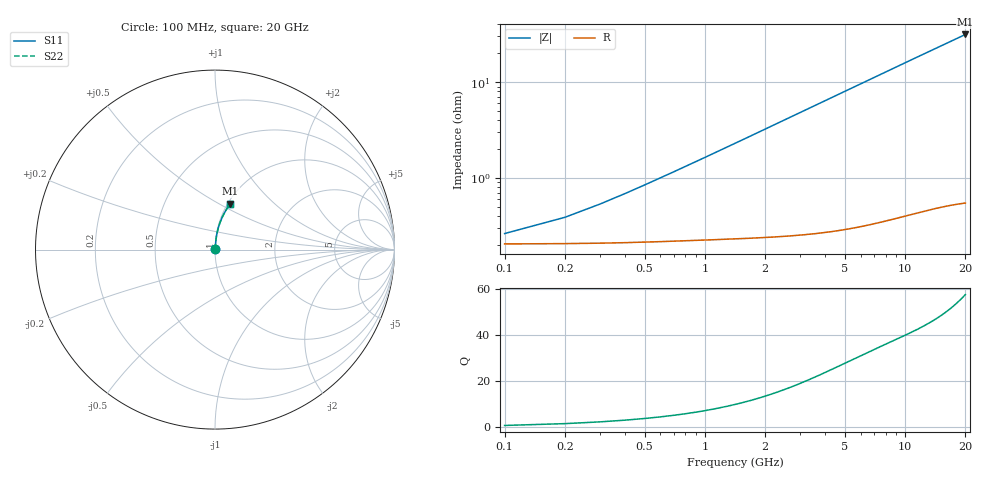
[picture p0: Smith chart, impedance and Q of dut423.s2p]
! Touchstone file exported from HFSS 2024.1.0
!  File:  C:/UserFiles/LocalFiles/RDL_TSV_Batchsim/temp_RDL_top_423_1779676049.aedt
!  Generated:  10:29:55 AM May 25, 2026
!  Design:  RDL_top
!  Project:  temp_RDL_top_423_1779676049
!  Setup:  Setup1
!  Solution:  Sweep
! Variables:
!  dtsv = 10.80580581um
!  hbump = 3um
!  htsv = 91.65um
!  ldown = 100um
!  lrdl = 181.1um
!  p = 40
!  p1 = 55.9um
!  rhole = 1um
!  t = 450um
!  tdown = 3.915915916um
!  trdl = 3.24um
!  wdown = 15.38538539um
!  wrdl = 10.47um
# GHz S MA R 50.000000
! Terminal data exported
! Port[1] = Box2_T1
! Port[2] = Box2_T2
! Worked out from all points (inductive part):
!   200 points, 100 MHz to 20 GHz, reference 50 ohm
!   read as one part in series: L = 260 pH near 400 MHz
!   highest Q = 57.5 at 20 GHz (marker M1), where L = 250 pH
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0.1  0.002481 34.6  0.998 -0.1  0.998 -0.1  0.002481 34.6
! Gamma 0 0 0 0
! Port Impedance 50 0 50 0
0.2  0.003488 53.7  0.9979 -0.2  0.9979 -0.2  0.003488 53.7
0.3  0.004701 63.5  0.9979 -0.3  0.9979 -0.3  0.004701 63.5
0.4  0.005989 69.1  0.9979 -0.4  0.9979 -0.4  0.005989 69.1
0.5  0.007308 72.7  0.9978 -0.5  0.9978 -0.5  0.007308 72.7
0.6  0.008643 75.1  0.9978 -0.6  0.9978 -0.6  0.008643 75.1
0.8  0.01133 78.3  0.9977 -0.8  0.9977 -0.8  0.01133 78.3
1.1  0.0154 80.8  0.9975 -1.2  0.9975 -1.2  0.0154 80.8
1.5  0.02084 82.6  0.9973 -1.6  0.9973 -1.6  0.02084 82.6
1.8  0.02494 83.3  0.9971 -1.9  0.9971 -1.9  0.02494 83.3
2.1  0.02905 83.8  0.9968 -2.2  0.9968 -2.2  0.02905 83.8
2.7  0.03727 84.3  0.9962 -2.8  0.9962 -2.8  0.03727 84.3
3.5  0.04826 84.4  0.9952 -3.7  0.9952 -3.7  0.04826 84.4
4.2  0.0579 84.3  0.9942 -4.4  0.9942 -4.4  0.0579 84.3
5  0.06893 84.0  0.9929 -5.2  0.9929 -5.2  0.06893 84.0
5.9  0.08136 83.5  0.9911 -6.1  0.9911 -6.1  0.08136 83.5
6.8  0.09378 82.9  0.9892 -7.0  0.9892 -7.0  0.09378 82.9
8.3  0.1145 81.8  0.9856 -8.5  0.9856 -8.5  0.1145 81.8
10.1  0.1392 80.3  0.9807 -10.3  0.9807 -10.3  0.1392 80.3
13.4  0.1838 77.4  0.9706 -13.4  0.9706 -13.4  0.1838 77.4
16.7  0.2272 74.5  0.9591 -16.4  0.9591 -16.4  0.2272 74.5
20  0.269 71.5  0.9464 -19.4  0.9464 -19.4  0.269 71.5
